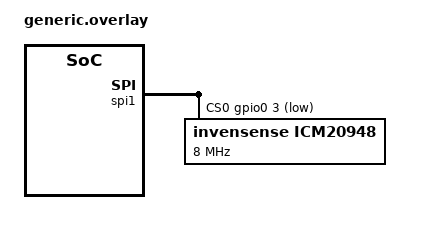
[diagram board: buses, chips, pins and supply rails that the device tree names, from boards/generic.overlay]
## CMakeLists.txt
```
# SPDX-License-Identifier: Apache-2.0

cmake_minimum_required(VERSION 3.20.0)
find_package(Zephyr REQUIRED HINTS $ENV{ZEPHYR_BASE})
project(icm20948_sample)

# Add driver include path for custom attributes
target_include_directories(app PRIVATE ../../drivers/sensor/icm20948)

# Choose which demo to build (default: sensor_enable_demo)
if(DEFINED CONFIG_DEMO_PACKED_ACCURACY)
    target_sources(app PRIVATE src/packed_accuracy_demo.c)
    message(STATUS "Building packed accuracy demo")
else()
    # Build the sensor enable demo to demonstrate new sensor enable functionality
    target_sources(app PRIVATE src/sensor_enable_demo.c)
    message(STATUS "Building sensor enable demo")
endif()
```

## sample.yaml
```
sample:
  name: ICM20948 Sensor Sample
  description: Sample application for ICM20948 9-axis motion sensor
tests:
  sample.sensor.icm20948:
    tags: sensor spi
    depends_on: spi
    platform_allow: 
      - nrf52dk/nrf52840
    integration_platforms:
      - nrf52dk/nrf52840
    harness: console
    harness_config:
      type: multi_line
      ordered: false
      regex:
        - "ICM20948 device ready"
        - "Accel:.*m/s²"
        - "Gyro:.*rad/s"
        - "Temperature:.*°C"
```

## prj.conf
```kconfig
# SPDX-License-Identifier: Apache-2.0

CONFIG_ROPODS_DRIVERS=y
CONFIG_ICM20948=y

# Enable SPI
CONFIG_SPI=y

# Enable sensor subsystem
CONFIG_SENSOR=y

# Enable GPIO for interrupt support (optional)
CONFIG_GPIO=y

# Enable logging
CONFIG_LOG=y
CONFIG_SENSOR_LOG_LEVEL_INF=y

# Enable trigger support (optional)
CONFIG_ICM20948_TRIGGER_GLOBAL_THREAD=y

# Console and shell
CONFIG_CONSOLE=y
CONFIG_UART_CONSOLE=y

# Use newlib nano instead of picolibc
CONFIG_NEWLIB_LIBC=y
CONFIG_NEWLIB_LIBC_NANO=y

# Main thread stack size
CONFIG_MAIN_STACK_SIZE=2048
```

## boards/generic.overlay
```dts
/*
 * Copyright (c) 2024 ROPODS
 * SPDX-License-Identifier: Apache-2.0
 */

/ {
	aliases {
		icm20948 = &icm20948;
	};
};

&spi1 {
	status = "okay";
	cs-gpios = <&gpio0 3 GPIO_ACTIVE_LOW>;

	icm20948: icm20948@0 {
		compatible = "invensense,icm20948";
		reg = <0>;
		spi-max-frequency = <8000000>;
		
		/* Optional properties */
		accel-range = <2>;    /* ±2g */
		gyro-range = <250>;   /* ±250 dps */
		
		/* Optional interrupt pin */
		/* int-gpios = <&gpio0 4 GPIO_ACTIVE_HIGH>; */
	};
};
```

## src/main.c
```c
/*
 * Copyright (c) 2024 ROPODS
 * SPDX-License-Identifier: Apache-2.0
 */

#include <zephyr/kernel.h>
#include <zephyr/device.h>
#include <zephyr/drivers/sensor.h>
#include <zephyr/logging/log.h>

LOG_MODULE_REGISTER(icm20948_sample, LOG_LEVEL_INF);

#define ICM20948_NODE DT_NODELABEL(icm20948)

static const struct device *const icm20948_dev = DEVICE_DT_GET(ICM20948_NODE);

#ifdef CONFIG_ICM20948_TRIGGER
static void icm20948_data_ready_handler(const struct device *dev,
					const struct sensor_trigger *trigger)
{
	struct sensor_value accel[3], gyro[3], temp;
	int ret;

	ret = sensor_sample_fetch(dev);
	if (ret) {
		LOG_ERR("Failed to fetch sample: %d", ret);
		return;
	}

	ret = sensor_channel_get(dev, SENSOR_CHAN_ACCEL_XYZ, accel);
	if (ret) {
		LOG_ERR("Failed to get accelerometer data: %d", ret);
		return;
	}

	ret = sensor_channel_get(dev, SENSOR_CHAN_GYRO_XYZ, gyro);
	if (ret) {
		LOG_ERR("Failed to get gyroscope data: %d", ret);
		return;
	}

	ret = sensor_channel_get(dev, SENSOR_CHAN_DIE_TEMP, &temp);
	if (ret) {
		LOG_ERR("Failed to get temperature data: %d", ret);
		return;
	}

	LOG_INF("Accel: X=%d.%06d Y=%d.%06d Z=%d.%06d m/s²",
		accel[0].val1, abs(accel[0].val2),
		accel[1].val1, abs(accel[1].val2),
		accel[2].val1, abs(accel[2].val2));

	LOG_INF("Gyro: X=%d.%06d Y=%d.%06d Z=%d.%06d rad/s",
		gyro[0].val1, abs(gyro[0].val2),
		gyro[1].val1, abs(gyro[1].val2),
		gyro[2].val1, abs(gyro[2].val2));

	LOG_INF("Temperature: %d.%06d °C",
		temp.val1, abs(temp.val2));
}
#endif

int main(void)
{
	int ret;

	if (!device_is_ready(icm20948_dev)) {
		LOG_ERR("ICM20948 device not ready");
		return -ENODEV;
	}

	LOG_INF("ICM20948 device ready");

#ifdef CONFIG_ICM20948_TRIGGER
	struct sensor_trigger trig = {
		.type = SENSOR_TRIG_DATA_READY,
		.chan = SENSOR_CHAN_ALL,
	};

	ret = sensor_trigger_set(icm20948_dev, &trig, icm20948_data_ready_handler);
	if (ret) {
		LOG_ERR("Failed to set trigger: %d", ret);
	} else {
		LOG_INF("Trigger mode enabled - data will be printed on interrupt");
		
		/* In trigger mode, just sleep */
		while (1) {
			k_sleep(K_SECONDS(1));
		}
	}
#else
	LOG_INF("Polling mode - reading sensor every second");

	while (1) {
		struct sensor_value accel[3], gyro[3], temp;
		
		ret = sensor_sample_fetch(icm20948_dev);
		if (ret) {
			LOG_ERR("Failed to fetch sample: %d", ret);
			k_sleep(K_SECONDS(1));
			continue;
		}

		ret = sensor_channel_get(icm20948_dev, SENSOR_CHAN_ACCEL_XYZ, accel);
		if (ret) {
			LOG_ERR("Failed to get accelerometer data: %d", ret);
			k_sleep(K_SECONDS(1));
			continue;
		}

		ret = sensor_channel_get(icm20948_dev, SENSOR_CHAN_GYRO_XYZ, gyro);
		if (ret) {
			LOG_ERR("Failed to get gyroscope data: %d", ret);
			k_sleep(K_SECONDS(1));
			continue;
		}

		ret = sensor_channel_get(icm20948_dev, SENSOR_CHAN_DIE_TEMP, &temp);
		if (ret) {
			LOG_ERR("Failed to get temperature data: %d", ret);
			k_sleep(K_SECONDS(1));
			continue;
		}

		LOG_INF("Accel: X=%d.%06d Y=%d.%06d Z=%d.%06d m/s²",
			accel[0].val1, abs(accel[0].val2),
			accel[1].val1, abs(accel[1].val2),
			accel[2].val1, abs(accel[2].val2));

		LOG_INF("Gyro: X=%d.%06d Y=%d.%06d Z=%d.%06d rad/s",
			gyro[0].val1, abs(gyro[0].val2),
			gyro[1].val1, abs(gyro[1].val2),
			gyro[2].val1, abs(gyro[2].val2));

		LOG_INF("Temperature: %d.%06d °C",
			temp.val1, abs(temp.val2));

		k_sleep(K_SECONDS(1));
	}
#endif

	return 0;
}
```

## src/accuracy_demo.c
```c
/*
 * Copyright (c) 2024 Nordic Semiconductor ASA
 *
 * SPDX-License-Identifier: Apache-2.0
 */

#include <zephyr/kernel.h>
#include <zephyr/device.h>
#include <zephyr/drivers/sensor.h>
#include <zephyr/logging/log.h>
#include "icm20948.h"

LOG_MODULE_REGISTER(icm20948_accuracy_demo, CONFIG_SENSOR_LOG_LEVEL);

/* ICM20948 device */
static const struct device *icm20948_dev = DEVICE_DT_GET_ONE(invensense_icm20948);

static void print_accuracy_legend(void)
{
	LOG_INF("\n--- Accuracy Scale Legend ---");
	LOG_INF("Individual sensors (Accel/Gyro/Mag): 0-3 scale");
	LOG_INF("  0 = Unreliable");
	LOG_INF("  1 = Low");  
	LOG_INF("  2 = Medium");
	LOG_INF("  3 = High");
	LOG_INF("");
	LOG_INF("Quaternion sensors (RV/GMRV): 0.0-1.0 normalized scale");
	LOG_INF("  0.0 = Unreliable");
	LOG_INF("  1.0 = High accuracy");
	LOG_INF("");
	LOG_INF("Game rotation vector: Uses minimum of Accel/Gyro accuracy");
	LOG_INF("=====================================");
}

static void print_all_accuracy(void)
{
	struct sensor_value accuracy;
	int ret;

	LOG_INF("\n--- Current Sensor Accuracy ---");

	/* Individual sensor accuracies */
	ret = sensor_channel_get(icm20948_dev, SENSOR_CHAN_ICM20948_ACCEL_ACCURACY, &accuracy);
	if (ret == 0) {
		LOG_INF("Accelerometer:     %d/3", accuracy.val1);
	} else {
		LOG_WRN("Accelerometer:     Error %d", ret);
	}

	ret = sensor_channel_get(icm20948_dev, SENSOR_CHAN_ICM20948_GYRO_ACCURACY, &accuracy);
	if (ret == 0) {
		LOG_INF("Gyroscope:         %d/3", accuracy.val1);
	} else {
		LOG_WRN("Gyroscope:         Error %d", ret);
	}

	ret = sensor_channel_get(icm20948_dev, SENSOR_CHAN_ICM20948_MAGN_ACCURACY, &accuracy);
	if (ret == 0) {
		LOG_INF("Magnetometer:      %d/3", accuracy.val1);
	} else {
		LOG_WRN("Magnetometer:      Error %d", ret);
	}

	/* Quaternion sensor accuracies */
	ret = sensor_channel_get(icm20948_dev, SENSOR_CHAN_ICM20948_QUAT6_ACCURACY, &accuracy);
	if (ret == 0) {
		LOG_INF("Game RV (6-axis):  %d/3", accuracy.val1);
	} else {
		LOG_WRN("Game RV (6-axis):  Error %d", ret);
	}

	ret = sensor_channel_get(icm20948_dev, SENSOR_CHAN_ICM20948_QUAT9_ACCURACY, &accuracy);
	if (ret == 0) {
		LOG_INF("Rotation Vector:   %d.%06d", accuracy.val1, abs(accuracy.val2));
	} else {
		LOG_WRN("Rotation Vector:   Error %d", ret);
	}

	ret = sensor_channel_get(icm20948_dev, SENSOR_CHAN_ICM20948_GMRV_ACCURACY, &accuracy);
	if (ret == 0) {
		LOG_INF("Geomag RV:         %d.%06d", accuracy.val1, abs(accuracy.val2));
	} else {
		LOG_WRN("Geomag RV:         Error %d", ret);
	}

	LOG_INF("---");
}

int main(void)
{
	struct sensor_value val;
	int ret;
	int sample_count = 0;

	LOG_INF("=======================================================");
	LOG_INF("ICM20948 Sensor Accuracy Monitoring Demo");
	LOG_INF("=======================================================");

	/* Check if device is ready */
	if (!device_is_ready(icm20948_dev)) {
		LOG_ERR("ICM20948 device not ready");
		return -ENODEV;
	}

	LOG_INF("✓ ICM20948 device ready");
	print_accuracy_legend();

	/* Enable all quaternion-related sensors for comprehensive accuracy monitoring */
	LOG_INF("\n--- Enabling Sensors ---");
	
	val.val1 = BIT(INV_ICM20948_SENSOR_ACCELEROMETER) | 
		   BIT(INV_ICM20948_SENSOR_GAME_ROTATION_VECTOR) |
		   BIT(INV_ICM20948_SENSOR_ROTATION_VECTOR) |
		   BIT(INV_ICM20948_SENSOR_LINEAR_ACCELERATION);
	val.val2 = 0;
	
	ret = sensor_attr_set(icm20948_dev, SENSOR_CHAN_ALL, 
			      SENSOR_ATTR_ICM20948_SENSOR_ENABLE, &val);
	if (ret) {
		LOG_ERR("Failed to enable sensors: %d", ret);
		return ret;
	}
	LOG_INF("✓ Sensors enabled (Accel, Game RV, 9-axis RV, Linear Accel)");

	LOG_INF("\n--- Accuracy Monitoring (30 samples) ---");
	LOG_INF("Move the device to see accuracy changes...");

	/* Monitor accuracy for 30 samples */
	while (sample_count < 30) {
		/* Fetch new sensor data */
		ret = sensor_sample_fetch(icm20948_dev);
		if (ret) {
			LOG_ERR("Failed to fetch sample: %d", ret);
			k_sleep(K_MSEC(500));
			continue;
		}

		LOG_INF("\nSample %d:", ++sample_count);
		print_all_accuracy();

		/* Wait 1 second between samples */
		k_sleep(K_SECONDS(1));
	}

	LOG_INF("\n--- Accuracy Monitoring Complete ---");
	LOG_INF("Note: Accuracy typically improves over time as the sensors");
	LOG_INF("calibrate and stabilize. Movement helps with magnetometer");
	LOG_INF("calibration for 9-axis quaternion accuracy.");

	/* Disable all sensors */
	val.val1 = 0;
	val.val2 = 0;
	ret = sensor_attr_set(icm20948_dev, SENSOR_CHAN_ALL, 
			      SENSOR_ATTR_ICM20948_SENSOR_ENABLE, &val);
	if (ret) {
		LOG_ERR("Failed to disable sensors: %d", ret);
	} else {
		LOG_INF("✓ All sensors disabled");
	}

	LOG_INF("Accuracy monitoring demo completed!");
	return 0;
}
```

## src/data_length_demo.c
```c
/*
 * SPDX-License-Identifier: Apache-2.0
 * 
 * Demo: ICM20948 Data Length Attribute
 * 
 * This demo shows how to use the SENSOR_ATTR_ICM20948_DATA_LENGTH attribute
 * to query how many sensor_value elements are needed for different channels.
 * This is especially useful with packed accuracy channels that return
 * variable numbers of values.
 */

#include <zephyr/kernel.h>
#include <zephyr/device.h>
#include <zephyr/drivers/sensor.h>
#include <zephyr/logging/log.h>
#include "icm20948.h"

LOG_MODULE_REGISTER(icm20948_data_length_demo, LOG_LEVEL_INF);

#define ICM20948_NODE DT_NODELABEL(icm20948)

#if !DT_NODE_EXISTS(ICM20948_NODE)
#error "ICM20948 devicetree node not found. Check your board configuration."
#endif

static const struct device *icm20948_dev = DEVICE_DT_GET(ICM20948_NODE);

/* Helper function to get and display data length for a channel */
static int show_channel_data_length(enum sensor_channel chan, const char *channel_name)
{
	struct sensor_value data_length;
	int ret;

	ret = sensor_attr_get(icm20948_dev, chan, SENSOR_ATTR_DATA_LENGTH, &data_length);
	if (ret) {
		LOG_ERR("Failed to get data length for %s: %d", channel_name, ret);
		return ret;
	}

	LOG_INF("%-35s: %d values", channel_name, data_length.val1);
	return 0;
}

/* Dynamic allocation example using data length */
static int dynamic_read_example(enum sensor_channel chan, const char *channel_name)
{
	struct sensor_value data_length;
	struct sensor_value *data;
	int ret;

	/* Get the required data length */
	ret = sensor_attr_get(icm20948_dev, chan, SENSOR_ATTR_DATA_LENGTH, &data_length);
	if (ret) {
		LOG_ERR("Failed to get data length for %s: %d", channel_name, ret);
		return ret;
	}

	/* Allocate array of the correct size */
	data = k_malloc(data_length.val1 * sizeof(struct sensor_value));
	if (!data) {
		LOG_ERR("Failed to allocate memory for %s data", channel_name);
		return -ENOMEM;
	}

	LOG_INF("Allocated %d values for %s", data_length.val1, channel_name);

	/* Enable required sensors for testing */
	struct sensor_value enable_val;
	enable_val.val1 = BIT(INV_ICM20948_SENSOR_ACCELEROMETER) | 
			  BIT(INV_ICM20948_SENSOR_GAME_ROTATION_VECTOR) |
			  BIT(INV_ICM20948_SENSOR_ROTATION_VECTOR) |
			  BIT(INV_ICM20948_SENSOR_LINEAR_ACCELERATION);
	enable_val.val2 = 0;
	sensor_attr_set(icm20948_dev, SENSOR_CHAN_ALL, SENSOR_ATTR_ICM20948_SENSOR_ENABLE, &enable_val);

	/* Fetch data */
	ret = sensor_sample_fetch(icm20948_dev);
	if (ret) {
		LOG_ERR("Failed to fetch sensor data: %d", ret);
		k_free(data);
		return ret;
	}

	/* Get channel data */
	ret = sensor_channel_get(icm20948_dev, chan, data);
	if (ret) {
		LOG_ERR("Failed to get %s data: %d", channel_name, ret);
		k_free(data);
		return ret;
	}

	/* Display the data */
	LOG_INF("%s data:", channel_name);
	for (int i = 0; i < data_length.val1; i++) {
		LOG_INF("  [%d]: %d.%06d", i, data[i].val1, abs(data[i].val2));
	}

	k_free(data);
	return 0;
}

static int test_data_length_attribute(void)
{
	LOG_INF("=== ICM20948 Data Length Attribute Demo ===");
	LOG_INF("");

	/* Show data lengths for all supported channels */
	LOG_INF("Channel data lengths:");
	LOG_INF("-------------------------------------");
	
	/* Standard 3-axis channels */
	show_channel_data_length(SENSOR_CHAN_ACCEL_XYZ, "SENSOR_CHAN_ACCEL_XYZ");
	show_channel_data_length(SENSOR_CHAN_GYRO_XYZ, "SENSOR_CHAN_GYRO_XYZ");
	show_channel_data_length(SENSOR_CHAN_MAGN_XYZ, "SENSOR_CHAN_MAGN_XYZ");
	
	/* Single-axis channels */
	show_channel_data_length(SENSOR_CHAN_ACCEL_X, "SENSOR_CHAN_ACCEL_X");
	show_channel_data_length(SENSOR_CHAN_GYRO_Y, "SENSOR_CHAN_GYRO_Y");
	show_channel_data_length(SENSOR_CHAN_MAGN_Z, "SENSOR_CHAN_MAGN_Z");
	show_channel_data_length(SENSOR_CHAN_DIE_TEMP, "SENSOR_CHAN_DIE_TEMP");
	
	/* Packed accuracy channels */
	show_channel_data_length(SENSOR_CHAN_GAME_ROTATION_VECTOR, "SENSOR_CHAN_GAME_ROTATION_VECTOR");
	show_channel_data_length(SENSOR_CHAN_ICM20948_ROTATION_VECTOR, "SENSOR_CHAN_ICM20948_ROTATION_VECTOR");
	show_channel_data_length(SENSOR_CHAN_ICM20948_LINEAR_ACCELERATION, "SENSOR_CHAN_ICM20948_LINEAR_ACCELERATION");

	LOG_INF("");
	LOG_INF("=== Dynamic Allocation Examples ===");
	LOG_INF("");

	/* Dynamic allocation examples */
	dynamic_read_example(SENSOR_CHAN_ACCEL_XYZ, "Accelerometer XYZ");
	k_sleep(K_MSEC(100));
	
	dynamic_read_example(SENSOR_CHAN_GAME_ROTATION_VECTOR, "Game Rotation Vector");
	k_sleep(K_MSEC(100));
	
	dynamic_read_example(SENSOR_CHAN_ICM20948_LINEAR_ACCELERATION, "Linear Acceleration");

	/* Disable sensors after demo */
	struct sensor_value disable_val = {0, 0};
	sensor_attr_set(icm20948_dev, SENSOR_CHAN_ALL, SENSOR_ATTR_ICM20948_SENSOR_ENABLE, &disable_val);

	return 0;
}

/* Generic helper function for any channel */
static struct sensor_value* allocate_channel_data(enum sensor_channel chan)
{
	struct sensor_value data_length;
	struct sensor_value *data;
	int ret;

	ret = sensor_attr_get(icm20948_dev, chan, SENSOR_ATTR_DATA_LENGTH, &data_length);
	if (ret) {
		LOG_ERR("Failed to get data length for channel %d: %d", chan, ret);
		return NULL;
	}

	data = k_malloc(data_length.val1 * sizeof(struct sensor_value));
	if (!data) {
		LOG_ERR("Failed to allocate memory for channel %d", chan);
		return NULL;
	}

	LOG_DBG("Allocated %d values for channel %d", data_length.val1, chan);
	return data;
}

static void show_usage_patterns(void)
{
	LOG_INF("=== Usage Patterns ===");
	LOG_INF("");
	LOG_INF("1. Static allocation with known size:");
	LOG_INF("   struct sensor_value quat_data[5];  // For quaternion + accuracy");
	LOG_INF("   sensor_channel_get(dev, SENSOR_CHAN_GAME_ROTATION_VECTOR, quat_data);");
	LOG_INF("");
	LOG_INF("2. Dynamic allocation based on data length:");
	LOG_INF("   struct sensor_value length;");
	LOG_INF("   sensor_attr_get(dev, chan, SENSOR_ATTR_DATA_LENGTH, &length);");
	LOG_INF("   struct sensor_value *data = k_malloc(length.val1 * sizeof(struct sensor_value));");
	LOG_INF("   sensor_channel_get(dev, chan, data);");
	LOG_INF("");
	LOG_INF("3. Generic channel reader function:");
	LOG_INF("   struct sensor_value *data = allocate_channel_data(chan);");
	LOG_INF("   sensor_channel_get(dev, chan, data);");
	LOG_INF("   k_free(data);");
}

int main(void)
{
	LOG_INF("ICM20948 Data Length Attribute Demo Starting...");

	/* Check if device is ready */
	if (!device_is_ready(icm20948_dev)) {
		LOG_ERR("ICM20948 device not ready");
		return -1;
	}

	LOG_INF("ICM20948 device is ready");
	LOG_INF("");

	/* Run the demo */
	int ret = test_data_length_attribute();
	if (ret) {
		LOG_ERR("Demo failed with error: %d", ret);
		return ret;
	}

	LOG_INF("");
	show_usage_patterns();

	LOG_INF("");
	LOG_INF("Demo completed successfully!");
	return 0;
}
```

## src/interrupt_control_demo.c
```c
/*
 * SPDX-License-Identifier: Apache-2.0
 * 
 * ICM20948 sensor sample with sensor enable control
 * 
 * This sample demonstrates how to use the ICM20948 sensor driver with
 * the new sensor enable functionality that controls both sensors and
 * interrupts through a single mask-based attribute.
 */

#include <zephyr/kernel.h>
#include <zephyr/device.h>
#include <zephyr/drivers/sensor.h>
#include <zephyr/logging/log.h>
#include "icm20948.h"  /* For custom sensor attributes */

LOG_MODULE_REGISTER(icm20948_sensor_enable_control, LOG_LEVEL_INF);

/* Get the ICM20948 device from devicetree */
#define ICM20948_NODE DT_NODELABEL(icm20948)

#if !DT_NODE_EXISTS(ICM20948_NODE)
#error "ICM20948 devicetree node not found. Check your board configuration."
#endif

static const struct device *icm20948_dev = DEVICE_DT_GET(ICM20948_NODE);

/* Interrupt handling */
static volatile bool data_ready = false;
static int interrupt_count = 0;

static void icm20948_trigger_handler(const struct device *dev,
				     const struct sensor_trigger *trigger)
{
	ARG_UNUSED(dev);
	ARG_UNUSED(trigger);
	
	data_ready = true;
	interrupt_count++;
	LOG_INF("Data ready interrupt #%d received", interrupt_count);
}

static void print_sensor_data(const struct device *dev)
{
	struct sensor_value accel[3], gyro[3], mag[3];
	int ret;

	/* Fetch latest sensor data */
	ret = sensor_sample_fetch(dev);
	if (ret) {
		LOG_ERR("Failed to fetch sensor data: %d", ret);
		return;
	}

	/* Get accelerometer data */
	ret = sensor_channel_get(dev, SENSOR_CHAN_ACCEL_XYZ, accel);
	if (ret) {
		LOG_WRN("Failed to get accelerometer data: %d", ret);
	} else {
		LOG_INF("Accel: X=%.3f Y=%.3f Z=%.3f m/s²",
			sensor_value_to_double(&accel[0]),
			sensor_value_to_double(&accel[1]),
			sensor_value_to_double(&accel[2]));
	}

	/* Get gyroscope data */
	ret = sensor_channel_get(dev, SENSOR_CHAN_GYRO_XYZ, gyro);
	if (ret) {
		LOG_WRN("Failed to get gyroscope data: %d", ret);
	} else {
		LOG_INF("Gyro:  X=%.3f Y=%.3f Z=%.3f rad/s",
			sensor_value_to_double(&gyro[0]),
			sensor_value_to_double(&gyro[1]),
			sensor_value_to_double(&gyro[2]));
	}

	/* Get magnetometer data */
	ret = sensor_channel_get(dev, SENSOR_CHAN_MAGN_XYZ, mag);
	if (ret) {
		LOG_WRN("Failed to get magnetometer data: %d", ret);
	} else {
		LOG_INF("Mag:   X=%.3f Y=%.3f Z=%.3f gauss",
			sensor_value_to_double(&mag[0]),
			sensor_value_to_double(&mag[1]),
			sensor_value_to_double(&mag[2]));
	}
}

static int set_sensor_enable(const struct device *dev, uint32_t sensor_mask)
{
	struct sensor_value val;
	int ret;

	val.val1 = sensor_mask;
	val.val2 = 0;

	ret = sensor_attr_set(dev, SENSOR_CHAN_ALL, SENSOR_ATTR_ICM20948_SENSOR_ENABLE, &val);
	if (ret) {
		LOG_ERR("Failed to set sensor enable mask to 0x%08x: %d", sensor_mask, ret);
		return ret;
	}

	if (sensor_mask == 0) {
		LOG_INF("All sensors disabled");
	} else {
		LOG_INF("Sensors enabled with mask: 0x%08x", sensor_mask);
	}
	return 0;
}

static int get_sensor_enable(const struct device *dev)
{
	struct sensor_value val;
	int ret;

	ret = sensor_attr_get(dev, SENSOR_CHAN_ALL, SENSOR_ATTR_ICM20948_SENSOR_ENABLE, &val);
	if (ret) {
		LOG_ERR("Failed to get sensor enable state: %d", ret);
		return ret;
	}

	LOG_INF("Sensor enable state: 0x%08x", (uint32_t)val.val1);
	return (uint32_t)val.val1;
}

int main(void)
{
	struct sensor_trigger trigger = {
		.type = SENSOR_TRIG_DATA_READY,
		.chan = SENSOR_CHAN_ALL,
	};
	int ret;

	LOG_INF("ICM20948 Sensor Sample with Sensor Enable Control");
	LOG_INF("==================================================");

	/* Check if device is ready */
	if (!device_is_ready(icm20948_dev)) {
		LOG_ERR("ICM20948 device not ready");
		return -1;
	}

	LOG_INF("ICM20948 device is ready");

	/* Phase 1: Set up trigger handler (but don't enable sensors yet) */
	LOG_INF("\n--- Phase 1: Setting up trigger handler ---");
	ret = sensor_trigger_set(icm20948_dev, &trigger, icm20948_trigger_handler);
	if (ret) {
		LOG_ERR("Failed to set trigger handler: %d", ret);
		return -1;
	}

	LOG_INF("Trigger handler set successfully");

	/* Check initial sensor enable state */
	get_sensor_enable(icm20948_dev);

	/* Phase 2: Polling mode (all sensors disabled) */
	LOG_INF("\n--- Phase 2: Polling mode (all sensors disabled) ---");
	for (int i = 0; i < 3; i++) {
		LOG_INF("Attempting to read sensor data (should fail)...");
		ret = sensor_sample_fetch(icm20948_dev);
		if (ret) {
			LOG_INF("✓ Expected: sensor_sample_fetch failed: %d (sensors disabled)", ret);
		} else {
			LOG_WRN("Unexpected: sensor_sample_fetch succeeded despite sensors being disabled");
		}
		k_sleep(K_SECONDS(1));
	}

	LOG_INF("Interrupt count during disabled state: %d", interrupt_count);

	/* Phase 3: Enable accelerometer only */
	LOG_INF("\n--- Phase 3: Enabling accelerometer only ---");
	ret = set_sensor_enable(icm20948_dev, BIT(INV_ICM20948_SENSOR_ACCELEROMETER));
	if (ret) {
		return -1;
	}

	/* Verify sensor enable state */
	get_sensor_enable(icm20948_dev);

	LOG_INF("\n--- Phase 4: Accelerometer-only mode (5 seconds) ---");
	uint32_t start_time = k_uptime_get_32();
	while (k_uptime_get_32() - start_time < 5000) { /* 5 seconds */
		if (data_ready) {
			data_ready = false;
			print_sensor_data(icm20948_dev);
		}
		k_sleep(K_MSEC(10)); /* Small delay to prevent busy waiting */
	}

	LOG_INF("Interrupts with accelerometer only: %d", interrupt_count);

	/* Phase 5: Enable accelerometer and game rotation vector */
	LOG_INF("\n--- Phase 5: Enabling accelerometer and game rotation vector ---");
	uint32_t accel_grv_mask = BIT(INV_ICM20948_SENSOR_ACCELEROMETER) | BIT(INV_ICM20948_SENSOR_GAME_ROTATION_VECTOR);
	ret = set_sensor_enable(icm20948_dev, accel_grv_mask);
	if (ret) {
		return -1;
	}

	/* Verify sensor enable state */
	get_sensor_enable(icm20948_dev);

	LOG_INF("\n--- Phase 6: Accelerometer + Game Rotation Vector mode (5 seconds) ---");
	start_time = k_uptime_get_32();
	while (k_uptime_get_32() - start_time < 5000) { /* 5 seconds */
		if (data_ready) {
			data_ready = false;
			print_sensor_data(icm20948_dev);
		}
		k_sleep(K_MSEC(10)); /* Small delay to prevent busy waiting */
	}

	LOG_INF("Total interrupts with accel+game rotation vector: %d", interrupt_count);

	/* Phase 7: Disable all sensors and return to polling */
	LOG_INF("\n--- Phase 7: Disabling all sensors ---");
	ret = set_sensor_enable(icm20948_dev, 0);
	if (ret) {
		return -1;
	}

	/* Verify sensor enable state */
	get_sensor_enable(icm20948_dev);

	LOG_INF("\n--- Phase 8: Back to disabled state (3 seconds) ---");
	int count_before_disable = interrupt_count;
	for (int i = 0; i < 3; i++) {
		LOG_INF("Attempting to read sensor data (should fail)...");
		ret = sensor_sample_fetch(icm20948_dev);
		if (ret) {
			LOG_INF("✓ Expected: sensor_sample_fetch failed: %d (sensors disabled)", ret);
		} else {
			LOG_WRN("Unexpected: sensor_sample_fetch succeeded despite sensors being disabled");
		}
		k_sleep(K_SECONDS(1));
	}

	LOG_INF("Interrupt count after disable: %d (should be %d)", 
		interrupt_count, count_before_disable);

	/* Phase 9: Re-enable accelerometer to demonstrate control */
	LOG_INF("\n--- Phase 9: Re-enabling accelerometer (3 seconds) ---");
	ret = set_sensor_enable(icm20948_dev, BIT(INV_ICM20948_SENSOR_ACCELEROMETER));
	if (ret) {
		return -1;
	}

	start_time = k_uptime_get_32();
	while (k_uptime_get_32() - start_time < 3000) { /* 3 seconds */
		if (data_ready) {
			data_ready = false;
			print_sensor_data(icm20948_dev);
		}
		k_sleep(K_MSEC(10));
	}

	LOG_INF("Final interrupt count: %d", interrupt_count);

	/* Cleanup: disable all sensors */
	set_sensor_enable(icm20948_dev, 0);

	LOG_INF("\n=== Sample completed successfully ===");
	LOG_INF("This sample demonstrated:");
	LOG_INF("1. Setting trigger handler without enabling sensors");
	LOG_INF("2. Sensor fetch failure when sensors are disabled");
	LOG_INF("3. Enabling individual sensors via mask");
	LOG_INF("4. Interrupt-driven operation when sensors are enabled");
	LOG_INF("5. Enabling multiple sensors simultaneously");
	LOG_INF("6. Disabling all sensors via zero mask");
	LOG_INF("7. Dynamic sensor enable/disable control");

	return 0;
}
```

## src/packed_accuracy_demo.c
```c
/*
 * Copyright (c) 2024 
 * SPDX-License-Identifier: Apache-2.0
 */

#include <zephyr/kernel.h>
#include <zephyr/device.h>
#include <zephyr/drivers/sensor.h>
#include <zephyr/logging/log.h>
#include <math.h>

LOG_MODULE_REGISTER(packed_accuracy_demo, LOG_LEVEL_INF);

/* ICM20948 driver specific includes */
#include "../../../drivers/sensor/icm20948/icm20948.h"

/* Device tree node for ICM20948 */
#define ICM20948_NODE DT_ALIAS(icm20948)

/**
 * Demonstrate the new packed accuracy format for quaternion data
 * Each quaternion channel now returns 5 values: w,x,y,z,accuracy
 */
static void demo_packed_quaternion_accuracy(const struct device *dev)
{
	struct sensor_value quat_data[5]; /* w,x,y,z,accuracy */
	int ret;

	LOG_INF("=== Packed Quaternion + Accuracy Demo ===");

	/* Fetch fresh sensor data */
	ret = sensor_sample_fetch(dev);
	if (ret) {
		LOG_ERR("Failed to fetch sensor data: %d", ret);
		return;
	}

	/* Demo 1: Game Rotation Vector (6-axis: accel + gyro) */
	ret = sensor_channel_get(dev, SENSOR_CHAN_GAME_ROTATION_VECTOR, quat_data);
	if (ret == 0) {
		LOG_INF("Game Rotation Vector (6-axis):");
		LOG_INF("  Quaternion: w=%d.%06d x=%d.%06d y=%d.%06d z=%d.%06d",
			quat_data[0].val1, abs(quat_data[0].val2),
			quat_data[1].val1, abs(quat_data[1].val2),
			quat_data[2].val1, abs(quat_data[2].val2),
			quat_data[3].val1, abs(quat_data[3].val2));
		LOG_INF("  Accuracy: %d (0-3 scale, min of accel+gyro accuracy)",
			quat_data[4].val1);
	} else {
		LOG_WRN("Failed to get Game Rotation Vector: %d", ret);
	}

	/* Demo 2: 9-axis Rotation Vector (accel + gyro + mag) */
	ret = sensor_channel_get(dev, SENSOR_CHAN_ICM20948_ROTATION_VECTOR, quat_data);
	if (ret == 0) {
		LOG_INF("9-axis Rotation Vector:");
		LOG_INF("  Quaternion: w=%d.%06d x=%d.%06d y=%d.%06d z=%d.%06d",
			quat_data[0].val1, abs(quat_data[0].val2),
			quat_data[1].val1, abs(quat_data[1].val2),
			quat_data[2].val1, abs(quat_data[2].val2),
			quat_data[3].val1, abs(quat_data[3].val2));
		LOG_INF("  Accuracy: %d.%06d (0-1 normalized scale)",
			quat_data[4].val1, abs(quat_data[4].val2));
	} else {
		LOG_WRN("Failed to get 9-axis Rotation Vector: %d", ret);
	}

	/* Demo 3: Geomagnetic Rotation Vector (accel + mag) */
	ret = sensor_channel_get(dev, SENSOR_CHAN_ICM20948_GEOMAGNETIC_ROTATION_VECTOR, quat_data);
	if (ret == 0) {
		LOG_INF("Geomagnetic Rotation Vector (accel + mag):");
		LOG_INF("  Quaternion: w=%d.%06d x=%d.%06d y=%d.%06d z=%d.%06d",
			quat_data[0].val1, abs(quat_data[0].val2),
			quat_data[1].val1, abs(quat_data[1].val2),
			quat_data[2].val1, abs(quat_data[2].val2),
			quat_data[3].val1, abs(quat_data[3].val2));
		LOG_INF("  Accuracy: %d.%06d (0-1 normalized scale)",
			quat_data[4].val1, abs(quat_data[4].val2));
	} else {
		LOG_WRN("Failed to get Geomagnetic Rotation Vector: %d", ret);
	}
}

/**
 * Demonstrate accessing individual accuracy values (if needed separately)
 */
static void demo_individual_accuracy(const struct device *dev)
{
	struct sensor_value accuracy;
	int ret;

	LOG_INF("=== Individual Accuracy Values ===");

	/* Individual accuracy channels are still available if needed */
	ret = sensor_channel_get(dev, SENSOR_CHAN_ICM20948_ACCEL_ACCURACY, &accuracy);
	if (ret == 0) {
		LOG_INF("Accelerometer Accuracy: %d (0-3 scale)", accuracy.val1);
	}

	ret = sensor_channel_get(dev, SENSOR_CHAN_ICM20948_GYRO_ACCURACY, &accuracy);
	if (ret == 0) {
		LOG_INF("Gyroscope Accuracy: %d (0-3 scale)", accuracy.val1);
	}

	ret = sensor_channel_get(dev, SENSOR_CHAN_ICM20948_MAGN_ACCURACY, &accuracy);
	if (ret == 0) {
		LOG_INF("Magnetometer Accuracy: %d (0-3 scale)", accuracy.val1);
	}
}

/**
 * Convert quaternion to Euler angles for demonstration
 */
static void quaternion_to_euler(const struct sensor_value quat[4], float *roll, float *pitch, float *yaw)
{
	float w = sensor_value_to_double(&quat[0]);
	float x = sensor_value_to_double(&quat[1]);
	float y = sensor_value_to_double(&quat[2]);
	float z = sensor_value_to_double(&quat[3]);

	/* Roll (x-axis rotation) */
	float sinr_cosp = 2 * (w * x + y * z);
	float cosr_cosp = 1 - 2 * (x * x + y * y);
	*roll = atan2f(sinr_cosp, cosr_cosp);

	/* Pitch (y-axis rotation) */
	float sinp = 2 * (w * y - z * x);
	if (fabsf(sinp) >= 1) {
		*pitch = copysignf(M_PI / 2, sinp); /* Use 90 degrees if out of range */
	} else {
		*pitch = asinf(sinp);
	}

	/* Yaw (z-axis rotation) */
	float siny_cosp = 2 * (w * z + x * y);
	float cosy_cosp = 1 - 2 * (y * y + z * z);
	*yaw = atan2f(siny_cosp, cosy_cosp);

	/* Convert to degrees */
	*roll *= 180.0f / M_PI;
	*pitch *= 180.0f / M_PI;
	*yaw *= 180.0f / M_PI;
}

/**
 * Enable quaternion sensors for demonstration
 */
static int enable_quaternion_sensors(const struct device *dev)
{
	struct sensor_value enable_mask;
	int ret;

	/* Enable all quaternion sensors */
	enable_mask.val1 = INV_ICM20948_SENSOR_GAME_ROTATION_VECTOR |
			    INV_ICM20948_SENSOR_ROTATION_VECTOR |
			    INV_ICM20948_SENSOR_GEOMAGNETIC_ROTATION_VECTOR;
	enable_mask.val2 = 0;

	ret = sensor_attr_set(dev, SENSOR_CHAN_ALL, 
			      SENSOR_ATTR_ICM20948_SENSOR_ENABLE, &enable_mask);
	if (ret) {
		LOG_ERR("Failed to enable quaternion sensors: %d", ret);
		return ret;
	}

	LOG_INF("Quaternion sensors enabled successfully");
	return 0;
}

int main(void)
{
	const struct device *icm20948_dev;

	LOG_INF("ICM20948 Packed Accuracy Demo Starting");

	/* Get ICM20948 device */
	if (!device_is_ready(DEVICE_DT_GET(ICM20948_NODE))) {
		LOG_ERR("ICM20948 device not ready");
		return -1;
	}
	icm20948_dev = DEVICE_DT_GET(ICM20948_NODE);
	LOG_INF("ICM20948 device found: %s", icm20948_dev->name);

	/* Enable quaternion sensors */
	if (enable_quaternion_sensors(icm20948_dev) != 0) {
		return -1;
	}

	/* Wait for sensors to stabilize */
	k_sleep(K_SECONDS(2));

	/* Main demo loop */
	for (int i = 0; i < 10; i++) {
		LOG_INF("\n--- Sample %d ---", i + 1);
		
		demo_packed_quaternion_accuracy(icm20948_dev);
		demo_individual_accuracy(icm20948_dev);

		/* Demonstrate Euler angle conversion */
		struct sensor_value quat_data[5];
		int ret = sensor_sample_fetch(icm20948_dev);
		if (ret == 0) {
			ret = sensor_channel_get(icm20948_dev, SENSOR_CHAN_GAME_ROTATION_VECTOR, quat_data);
			if (ret == 0) {
				float roll, pitch, yaw;
				quaternion_to_euler(quat_data, &roll, &pitch, &yaw);
				LOG_INF("Euler Angles: Roll=%.1f° Pitch=%.1f° Yaw=%.1f°", 
					(double)roll, (double)pitch, (double)yaw);
			}
		}

		k_sleep(K_SECONDS(1));
	}

	LOG_INF("Demo completed");
	return 0;
}
```

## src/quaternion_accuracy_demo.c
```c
/*
 * ICM-20948 Accuracy Demo
 * 
 * This demo demonstrates how to read accuracy information packed with quaternion data
 * and individual sensor components (accelerometer, gyroscope, magnetometer).
 * 
 * Quaternion channels now return 5 values: w,x,y,z,accuracy
 * - Game rotation vector (quat6): accuracy is minimum of accel and gyro accuracy (0-3)
 * - 9-axis rotation vector (quat9): accuracy is normalized 0.0-1.0 (1.0=highest accuracy)
 * - Geomagnetic rotation vector (gmrv): accuracy is normalized 0.0-1.0 (1.0=highest accuracy)
 * 
 * Individual sensor accuracies: 0-3 (0=unreliable, 3=high accuracy)
 */

#include <zephyr/kernel.h>
#include <zephyr/device.h>
#include <zephyr/drivers/sensor.h>
#include <zephyr/logging/log.h>
#include <math.h>

#include "../../drivers/sensor/icm20948/icm20948.h"

LOG_MODULE_REGISTER(accuracy_demo, LOG_LEVEL_INF);

/* Get device from devicetree */
static const struct device *icm20948_dev = DEVICE_DT_GET_ONE(invensense_icm20948);

/* Function to print quaternion data with packed accuracy */
static void print_quaternion_with_accuracy(const struct device *dev)
{
	struct sensor_value quat_data[5]; /* w,x,y,z,accuracy */
	int ret;

	LOG_INF("=== Quaternion Data with Packed Accuracy ===");

	/* Read 6-axis quaternion (Game Rotation Vector) with packed accuracy */
	ret = sensor_channel_get(dev, SENSOR_CHAN_GAME_ROTATION_VECTOR, quat_data);
	if (ret == 0) {
		LOG_INF("Game Rotation Vector (6-axis: accel+gyro):");
		LOG_INF("  Quaternion: w=%d.%06d x=%d.%06d y=%d.%06d z=%d.%06d",
			quat_data[0].val1, abs(quat_data[0].val2),
			quat_data[1].val1, abs(quat_data[1].val2),
			quat_data[2].val1, abs(quat_data[2].val2),
			quat_data[3].val1, abs(quat_data[3].val2));
		LOG_INF("  Accuracy: %d (0=unreliable, 3=high)", quat_data[4].val1);
	} else {
		LOG_WRN("Failed to read game rotation vector: %d", ret);
	}

	/* Read 9-axis quaternion (Full Rotation Vector) with packed accuracy */
	ret = sensor_channel_get(dev, SENSOR_CHAN_ICM20948_ROTATION_VECTOR, quat_data);
	if (ret == 0) {
		LOG_INF("9-axis Rotation Vector (accel+gyro+mag):");
		LOG_INF("  Quaternion: w=%d.%06d x=%d.%06d y=%d.%06d z=%d.%06d",
			quat_data[0].val1, abs(quat_data[0].val2),
			quat_data[1].val1, abs(quat_data[1].val2),
			quat_data[2].val1, abs(quat_data[2].val2),
			quat_data[3].val1, abs(quat_data[3].val2));
		LOG_INF("  Accuracy: %d.%06d (0.0=unreliable, 1.0=highest)",
			quat_data[4].val1, abs(quat_data[4].val2));
	} else {
		LOG_WRN("Failed to read 9-axis rotation vector: %d", ret);
	}

	/* Read Geomagnetic Rotation Vector with packed accuracy */
	ret = sensor_channel_get(dev, SENSOR_CHAN_ICM20948_GEOMAGNETIC_ROTATION_VECTOR, quat_data);
	if (ret == 0) {
		LOG_INF("Geomagnetic Rotation Vector (accel+mag):");
		LOG_INF("  Quaternion: w=%d.%06d x=%d.%06d y=%d.%06d z=%d.%06d",
			quat_data[0].val1, abs(quat_data[0].val2),
			quat_data[1].val1, abs(quat_data[1].val2),
			quat_data[2].val1, abs(quat_data[2].val2),
			quat_data[3].val1, abs(quat_data[3].val2));
		LOG_INF("  Accuracy: %d.%06d (0.0=unreliable, 1.0=highest)",
			quat_data[4].val1, abs(quat_data[4].val2));
	} else {
		LOG_WRN("Failed to read geomagnetic rotation vector: %d", ret);
	}
}

/* Function to print individual sensor accuracy (if needed separately) */
static void print_individual_sensor_accuracy(const struct device *dev)
{
	struct sensor_value accel_acc, gyro_acc, mag_acc;
	int ret;

	LOG_INF("=== Individual Sensor Accuracy ===");

	/* Read individual sensor accuracies (0-3 scale) */
	ret = sensor_channel_get(dev, SENSOR_CHAN_ICM20948_ACCEL_ACCURACY, &accel_acc);
	if (ret == 0) {
		LOG_INF("Accelerometer Accuracy: %d (0=unreliable, 3=high)", accel_acc.val1);
	} else {
		LOG_WRN("Failed to read accelerometer accuracy: %d", ret);
	}

	ret = sensor_channel_get(dev, SENSOR_CHAN_ICM20948_GYRO_ACCURACY, &gyro_acc);
	if (ret == 0) {
		LOG_INF("Gyroscope Accuracy:     %d (0=unreliable, 3=high)", gyro_acc.val1);
	} else {
		LOG_WRN("Failed to read gyroscope accuracy: %d", ret);
	}

	ret = sensor_channel_get(dev, SENSOR_CHAN_ICM20948_MAGN_ACCURACY, &mag_acc);
	if (ret == 0) {
		LOG_INF("Magnetometer Accuracy:  %d (0=unreliable, 3=high)", mag_acc.val1);
	} else {
		LOG_WRN("Failed to read magnetometer accuracy: %d", ret);
	}
}

/* Function to enable quaternion sensors */
static int enable_quaternion_sensors(const struct device *dev)
{
	struct sensor_value sensor_mask;
	int ret;

	/* Enable accelerometer, gyroscope, magnetometer, and quaternion sensors
	 * Bit mask: 
	 * - INV_ICM20948_SENSOR_ACCELEROMETER = bit 0
	 * - INV_ICM20948_SENSOR_GYROSCOPE = bit 1  
	 * - INV_ICM20948_SENSOR_GEOMAGNETIC_FIELD = bit 2
	 * - INV_ICM20948_SENSOR_GAME_ROTATION_VECTOR = bit 11  
	 * - INV_ICM20948_SENSOR_ROTATION_VECTOR = bit 12
	 * - INV_ICM20948_SENSOR_GEOMAGNETIC_ROTATION_VECTOR = bit 20
	 */
	uint32_t enable_mask = BIT(0) |   /* Accelerometer */
			       BIT(1) |   /* Gyroscope */
			       BIT(2) |   /* Magnetometer */
			       BIT(11) |  /* Game rotation vector */
			       BIT(12) |  /* Rotation vector */
			       BIT(20);   /* Geomagnetic rotation vector */

	sensor_mask.val1 = enable_mask;
	sensor_mask.val2 = 0;

	ret = sensor_attr_set(dev, SENSOR_CHAN_ALL, SENSOR_ATTR_ICM20948_SENSOR_ENABLE, &sensor_mask);
	if (ret != 0) {
		LOG_ERR("Failed to enable quaternion sensors: %d", ret);
		return ret;
	}

	LOG_INF("Enabled accelerometer, gyroscope, magnetometer, and all quaternion sensors");
	
	/* Wait for sensors to stabilize */
	k_sleep(K_MSEC(500));
	
	return 0;
}

int main(void)
{
	int ret;

	LOG_INF("ICM-20948 Packed Accuracy Demo Starting");

	if (!device_is_ready(icm20948_dev)) {
		LOG_ERR("ICM-20948 device not ready");
		return -ENODEV;
	}

	LOG_INF("ICM-20948 device found: %s", icm20948_dev->name);

	/* Enable quaternion sensors */
	ret = enable_quaternion_sensors(icm20948_dev);
	if (ret != 0) {
		return ret;
	}

	/* Main loop - show different accuracy information */
	int loop_count = 0;
	while (1) {
		LOG_INF("\n=== Loop %d ===", ++loop_count);

		/* Fetch fresh sensor data */
		ret = sensor_sample_fetch(icm20948_dev);
		if (ret != 0) {
			LOG_ERR("Failed to fetch sensor data: %d", ret);
			k_sleep(K_SECONDS(1));
			continue;
		}

		/* Demonstrate packed accuracy format */
		print_quaternion_with_accuracy(icm20948_dev);
		
		/* Show individual sensor accuracies if needed */
		if (loop_count % 3 == 0) {
			print_individual_sensor_accuracy(icm20948_dev);
		}

		/* Wait before next reading */
		k_sleep(K_SECONDS(2));
	}

	return 0;
}
```

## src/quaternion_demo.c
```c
/*
 * Copyright (c) 2024 Nordic Semiconductor ASA
 *
 * SPDX-License-Identifier: Apache-2.0
 */

#include <zephyr/kernel.h>
#include <zephyr/device.h>
#include <zephyr/drivers/sensor.h>
#include <zephyr/logging/log.h>
#include "icm20948.h"

LOG_MODULE_REGISTER(icm20948_quaternion_demo, CONFIG_SENSOR_LOG_LEVEL);

/* ICM20948 device */
static const struct device *icm20948_dev = DEVICE_DT_GET_ONE(invensense_icm20948);

int main(void)
{
	struct sensor_value val;
	struct sensor_value quat6[4], quat9[4], linear_accel[3];
	int ret;

	LOG_INF("=======================================================");
	LOG_INF("ICM20948 Quaternion and Linear Acceleration Demo");
	LOG_INF("=======================================================");

	/* Check if device is ready */
	if (!device_is_ready(icm20948_dev)) {
		LOG_ERR("ICM20948 device not ready");
		return -ENODEV;
	}

	LOG_INF("✓ ICM20948 device ready");

	/* Enable quaternion and linear acceleration sensors */
	LOG_INF("\n--- Enabling Sensors ---");
	
	/* Enable accelerometer as a base requirement */
	val.val1 = BIT(INV_ICM20948_SENSOR_ACCELEROMETER);
	val.val2 = 0;
	ret = sensor_attr_set(icm20948_dev, SENSOR_CHAN_ALL, 
			      SENSOR_ATTR_ICM20948_SENSOR_ENABLE, &val);
	if (ret) {
		LOG_ERR("Failed to enable accelerometer: %d", ret);
		return ret;
	}
	LOG_INF("✓ Accelerometer enabled");

	/* Enable game rotation vector (6-axis quaternion) */
	val.val1 = BIT(INV_ICM20948_SENSOR_ACCELEROMETER) | BIT(INV_ICM20948_SENSOR_GAME_ROTATION_VECTOR);
	val.val2 = 0;
	ret = sensor_attr_set(icm20948_dev, SENSOR_CHAN_ALL, 
			      SENSOR_ATTR_ICM20948_SENSOR_ENABLE, &val);
	if (ret) {
		LOG_ERR("Failed to enable game rotation vector: %d", ret);
		return ret;
	}
	LOG_INF("✓ Game rotation vector (6-axis quaternion) enabled");

	/* Enable full rotation vector (9-axis quaternion) */
	val.val1 = BIT(INV_ICM20948_SENSOR_ACCELEROMETER) | 
		   BIT(INV_ICM20948_SENSOR_GAME_ROTATION_VECTOR) |
		   BIT(INV_ICM20948_SENSOR_ROTATION_VECTOR);
	val.val2 = 0;
	ret = sensor_attr_set(icm20948_dev, SENSOR_CHAN_ALL, 
			      SENSOR_ATTR_ICM20948_SENSOR_ENABLE, &val);
	if (ret) {
		LOG_ERR("Failed to enable rotation vector: %d", ret);
		return ret;
	}
	LOG_INF("✓ Full rotation vector (9-axis quaternion) enabled");

	/* Enable linear acceleration */
	val.val1 = BIT(INV_ICM20948_SENSOR_ACCELEROMETER) | 
		   BIT(INV_ICM20948_SENSOR_GAME_ROTATION_VECTOR) |
		   BIT(INV_ICM20948_SENSOR_ROTATION_VECTOR) |
		   BIT(INV_ICM20948_SENSOR_LINEAR_ACCELERATION);
	val.val2 = 0;
	ret = sensor_attr_set(icm20948_dev, SENSOR_CHAN_ALL, 
			      SENSOR_ATTR_ICM20948_SENSOR_ENABLE, &val);
	if (ret) {
		LOG_ERR("Failed to enable linear acceleration: %d", ret);
		return ret;
	}
	LOG_INF("✓ Linear acceleration enabled");

	LOG_INF("\n--- Starting Data Collection ---");
	LOG_INF("Note: DMP needs time to stabilize, initial readings may be zero");
	LOG_INF("Quaternion format: [w, x, y, z] (unit quaternion, normalized)");
	LOG_INF("Linear acceleration: [x, y, z] in m/s² (gravity removed)");

	/* Data collection loop */
	for (int i = 0; i < 100; i++) {
		/* Wait for data */
		k_sleep(K_MSEC(100));

		/* Fetch sensor data */
		ret = sensor_sample_fetch(icm20948_dev);
		if (ret) {
			LOG_WRN("Failed to fetch sample: %d", ret);
			continue;
		}

		/* Get 6-axis quaternion (game rotation vector) */
		ret = sensor_channel_get(icm20948_dev, SENSOR_CHAN_GAME_ROTATION_VECTOR, quat6);
		if (ret == 0) {
			LOG_INF("Quat6: [%d.%06d, %d.%06d, %d.%06d, %d.%06d]",
				quat6[0].val1, abs(quat6[0].val2),
				quat6[1].val1, abs(quat6[1].val2),
				quat6[2].val1, abs(quat6[2].val2),
				quat6[3].val1, abs(quat6[3].val2));
		} else {
			LOG_DBG("No quat6 data available: %d", ret);
		}

		/* Get 9-axis quaternion (full rotation vector) */
		ret = sensor_channel_get(icm20948_dev, SENSOR_CHAN_ICM20948_ROTATION_VECTOR, quat9);
		if (ret == 0) {
			LOG_INF("Quat9: [%d.%06d, %d.%06d, %d.%06d, %d.%06d]",
				quat9[0].val1, abs(quat9[0].val2),
				quat9[1].val1, abs(quat9[1].val2),
				quat9[2].val1, abs(quat9[2].val2),
				quat9[3].val1, abs(quat9[3].val2));
		} else {
			LOG_DBG("No quat9 data available: %d", ret);
		}

		/* Get linear acceleration */
		ret = sensor_channel_get(icm20948_dev, SENSOR_CHAN_ICM20948_LINEAR_ACCELERATION, linear_accel);
		if (ret == 0) {
			LOG_INF("LinAcc: [%d.%06d, %d.%06d, %d.%06d] m/s²",
				linear_accel[0].val1, abs(linear_accel[0].val2),
				linear_accel[1].val1, abs(linear_accel[1].val2),
				linear_accel[2].val1, abs(linear_accel[2].val2));
		} else {
			LOG_DBG("No linear acceleration data available: %d", ret);
		}

		/* Get sensor accuracy information */
		struct sensor_value accuracy;
		
		ret = sensor_channel_get(icm20948_dev, SENSOR_CHAN_ICM20948_ACCEL_ACCURACY, &accuracy);
		if (ret == 0) {
			LOG_INF("Accuracy - Accel: %d", accuracy.val1);
		}
		
		ret = sensor_channel_get(icm20948_dev, SENSOR_CHAN_ICM20948_GYRO_ACCURACY, &accuracy);
		if (ret == 0) {
			LOG_INF("Accuracy - Gyro: %d", accuracy.val1);
		}
		
		ret = sensor_channel_get(icm20948_dev, SENSOR_CHAN_ICM20948_MAGN_ACCURACY, &accuracy);
		if (ret == 0) {
			LOG_INF("Accuracy - Mag: %d", accuracy.val1);
		}
		
		ret = sensor_channel_get(icm20948_dev, SENSOR_CHAN_ICM20948_QUAT6_ACCURACY, &accuracy);
		if (ret == 0) {
			LOG_INF("Accuracy - Quat6 (Game): %d", accuracy.val1);
		}
		
		ret = sensor_channel_get(icm20948_dev, SENSOR_CHAN_ICM20948_QUAT9_ACCURACY, &accuracy);
		if (ret == 0) {
			LOG_INF("Accuracy - Quat9 (9-axis): %d.%06d", accuracy.val1, abs(accuracy.val2));
		}
		
		ret = sensor_channel_get(icm20948_dev, SENSOR_CHAN_ICM20948_GMRV_ACCURACY, &accuracy);
		if (ret == 0) {
			LOG_INF("Accuracy - GMRV: %d.%06d", accuracy.val1, abs(accuracy.val2));
		}

		LOG_INF("---");
	}

	LOG_INF("\n--- Cleaning up ---");
	
	/* Disable all sensors */
	val.val1 = 0;
	val.val2 = 0;
	ret = sensor_attr_set(icm20948_dev, SENSOR_CHAN_ALL, 
			      SENSOR_ATTR_ICM20948_SENSOR_ENABLE, &val);
	if (ret) {
		LOG_ERR("Failed to disable all sensors: %d", ret);
	} else {
		LOG_INF("✓ All sensors disabled");
	}

	LOG_INF("Demo completed successfully!");
	return 0;
}
```

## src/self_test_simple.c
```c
/*
 * SPDX-License-Identifier: Apache-2.0
 * 
 * Simple ICM20948 Self-Test Example
 * Minimal example showing how to trigger self-test
 */

#include <zephyr/kernel.h>
#include <zephyr/device.h>
#include <zephyr/drivers/sensor.h>
#include <zephyr/logging/log.h>
#include "icm20948.h"

LOG_MODULE_REGISTER(icm20948_self_test_simple, LOG_LEVEL_INF);

#define ICM20948_NODE DT_NODELABEL(icm20948)
static const struct device *icm20948_dev = DEVICE_DT_GET(ICM20948_NODE);

int main(void)
{
    struct sensor_value trigger_val = {.val1 = 1, .val2 = 0};
    int ret;
    
    LOG_INF("ICM20948 Simple Self-Test Example");
    
    if (!device_is_ready(icm20948_dev)) {
        LOG_ERR("ICM20948 device not ready");
        return -1;
    }
    
    LOG_INF("Triggering ICM20948 self-test...");
    
    /* Trigger self-test - any non-zero value works */
    ret = sensor_attr_set(icm20948_dev, 
                         SENSOR_CHAN_ALL,
                         SENSOR_ATTR_ICM20948_SELF_TEST, 
                         &trigger_val);
    
    if (ret == 0) {
        LOG_INF("✓ Self-test PASSED - sensor is functioning correctly");
    } else {
        LOG_ERR("✗ Self-test FAILED with error %d", ret);
    }
    
    return ret;
}
```

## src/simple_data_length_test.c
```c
/*
 * SPDX-License-Identifier: Apache-2.0
 * 
 * Simple Data Length Attribute Test
 */

#include <zephyr/kernel.h>
#include <zephyr/device.h>
#include <zephyr/drivers/sensor.h>
#include <zephyr/logging/log.h>
#include "icm20948.h"

LOG_MODULE_REGISTER(data_length_test, LOG_LEVEL_INF);

#define ICM20948_NODE DT_NODELABEL(icm20948)

#if !DT_NODE_EXISTS(ICM20948_NODE)
#error "ICM20948 devicetree node not found. Check your board configuration."
#endif

static const struct device *icm20948_dev = DEVICE_DT_GET(ICM20948_NODE);

int main(void)
{
	struct sensor_value data_length;
	int ret;

	LOG_INF("ICM20948 Data Length Attribute Test");

	if (!device_is_ready(icm20948_dev)) {
		LOG_ERR("ICM20948 device not ready");
		return -1;
	}

	/* Test various channels */
	const struct {
		enum sensor_channel chan;
		const char *name;
		int expected_length;
	} test_channels[] = {
		{SENSOR_CHAN_ACCEL_XYZ, "ACCEL_XYZ", 3},
		{SENSOR_CHAN_ACCEL_X, "ACCEL_X", 1},
		{SENSOR_CHAN_GAME_ROTATION_VECTOR, "GAME_ROTATION_VECTOR", 5},
		{SENSOR_CHAN_ICM20948_ROTATION_VECTOR, "ICM20948_ROTATION_VECTOR", 5},
		{SENSOR_CHAN_ICM20948_LINEAR_ACCELERATION, "ICM20948_LINEAR_ACCELERATION", 4},
	};

	LOG_INF("Testing data length attribute for various channels:");
	LOG_INF("---------------------------------------------");

	for (int i = 0; i < ARRAY_SIZE(test_channels); i++) {
		ret = sensor_attr_get(icm20948_dev, test_channels[i].chan, 
				      SENSOR_ATTR_DATA_LENGTH, &data_length);
		if (ret) {
			LOG_ERR("Failed to get data length for %s: %d", 
				test_channels[i].name, ret);
		} else {
			bool correct = (data_length.val1 == test_channels[i].expected_length);
			LOG_INF("%-30s: %d values %s", 
				test_channels[i].name, 
				data_length.val1,
				correct ? "✓" : "✗");
			
			if (!correct) {
				LOG_ERR("Expected %d, got %d", 
					test_channels[i].expected_length, 
					data_length.val1);
			}
		}
	}

	/* Test read-only behavior */
	LOG_INF("");
	LOG_INF("Testing read-only behavior:");
	data_length.val1 = 99;
	data_length.val2 = 0;
	ret = sensor_attr_set(icm20948_dev, SENSOR_CHAN_ACCEL_XYZ, 
			      SENSOR_ATTR_DATA_LENGTH, &data_length);
	if (ret == -EACCES) {
		LOG_INF("✓ Correctly rejected attempt to set data length (read-only)");
	} else {
		LOG_ERR("✗ Should have rejected attempt to set data length: %d", ret);
	}

	LOG_INF("");
	LOG_INF("Data length attribute test completed!");
	return 0;
}
```
